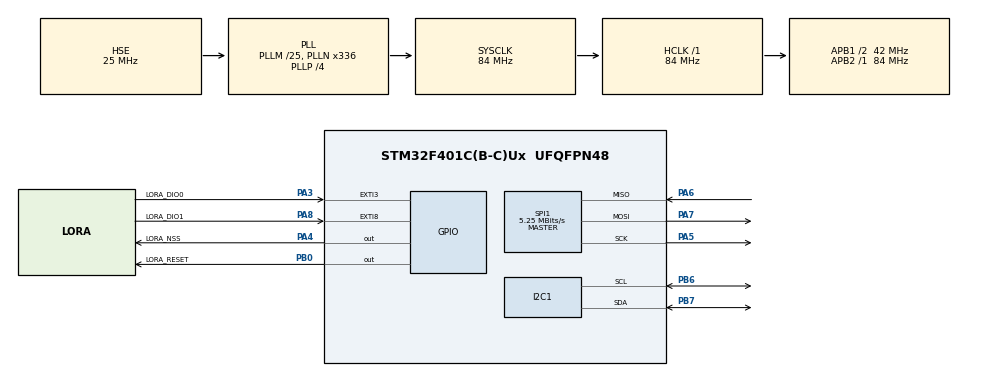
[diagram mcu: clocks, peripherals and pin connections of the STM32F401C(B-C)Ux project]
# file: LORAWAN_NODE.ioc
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Mcu.Family=STM32F4
Mcu.Name=STM32F401C(B-C)Ux
Mcu.Package=UFQFPN48
NVIC.EXTI3_IRQn=true\:0\:0\:false\:false\:true\:true\:true\:true
NVIC.EXTI9_5_IRQn=true\:0\:0\:false\:false\:true\:true\:true\:true
NVIC.PriorityGroup=NVIC_PRIORITYGROUP_4
NVIC.SPI1_IRQn=true\:0\:0\:false\:false\:true\:true\:true\:true
PA3.GPIO_Label=LORA_DIO0
PA3.GPIO_PuPd=GPIO_PULLDOWN
PA3.Signal=GPXTI3
PA4.GPIO_Label=LORA_NSS
PA4.GPIO_PuPd=GPIO_NOPULL
PA4.GPIO_Speed=GPIO_SPEED_FREQ_HIGH
PA4.Signal=GPIO_Output
PA5.Mode=Full_Duplex_Master
PA5.Signal=SPI1_SCK
PA6.Mode=Full_Duplex_Master
PA6.Signal=SPI1_MISO
PA7.Mode=Full_Duplex_Master
PA7.Signal=SPI1_MOSI
PA8.GPIO_Label=LORA_DIO1
PA8.GPIO_PuPd=GPIO_PULLDOWN
PA8.Signal=GPXTI8
PB0.GPIO_Label=LORA_RESET
PB0.Signal=GPIO_Output
PB6.Mode=I2C
PB6.Signal=I2C1_SCL
PB7.Mode=I2C
PB7.Signal=I2C1_SDA
PH0\ -\ OSC_IN.Mode=HSE-External-Oscillator
PH0\ -\ OSC_IN.Signal=RCC_OSC_IN
PH1\ -\ OSC_OUT.Mode=HSE-External-Oscillator
PH1\ -\ OSC_OUT.Signal=RCC_OSC_OUT
ProjectManager.HeapSize=0x200
ProjectManager.StackSize=0x400
ProjectManager.TargetToolchain=CMake
RCC.48MHZClocksFreq_Value=84000000
RCC.AHBFreq_Value=84000000
RCC.APB1CLKDivider=RCC_HCLK_DIV2
RCC.APB1Freq_Value=42000000
RCC.APB1TimFreq_Value=84000000
RCC.APB2Freq_Value=84000000
RCC.APB2TimFreq_Value=84000000
RCC.CortexFreq_Value=84000000
RCC.HCLKFreq_Value=84000000
RCC.HSE_VALUE=25000000
RCC.HSI_VALUE=16000000
RCC.LSE_VALUE=32768
RCC.PLLM=25
RCC.PLLN=336
RCC.PLLP=RCC_PLLP_DIV4
RCC.PLLSourceVirtual=RCC_PLLSOURCE_HSE
RCC.SYSCLKFreq_VALUE=84000000
RCC.SYSCLKSource=RCC_SYSCLKSOURCE_PLLCLK
RCC.VCOOutputFreq_Value=336000000
SPI1.BaudRatePrescaler=SPI_BAUDRATEPRESCALER_16
SPI1.CalculateBaudRate=5.25 MBits/s
SPI1.Direction=SPI_DIRECTION_2LINES
SPI1.Mode=SPI_MODE_MASTER
SPI1.VirtualType=VM_MASTER
board=custom

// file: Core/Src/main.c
/* USER CODE BEGIN Header */
/**
  ******************************************************************************
  * @file           : main.c
  * @brief          : Main program body
  ******************************************************************************
  * @attention
  *
  * Copyright (c) 2026 STMicroelectronics.
  * All rights reserved.
  *
  * This software is licensed under terms that can be found in the LICENSE file
  * in the root directory of this software component.
  * If no LICENSE file comes with this software, it is provided AS-IS.
  *
  ******************************************************************************
  */
/* USER CODE END Header */
#include "main.h"
#include "i2c.h"
#include "spi.h"
#include "gpio.h"
#include "oled.h"
#include "Commissioning.h"
#include <stdbool.h>
#include <string.h>
#include <stdio.h>
#include <math.h>

/* USER CODE BEGIN PV */

volatile uint64_t gDevEuiValue = 0;
volatile uint64_t gJoinEuiValue = 0;
volatile uint64_t gAppKeyHigh = 0;
volatile uint64_t gAppKeyLow = 0;
char gDevEuiHexOnly[17] = "0000000000000000";
const char *gDevEuiHexText = gDevEuiHexOnly;
static uint32_t gLastMq7Update = 0;

/* USER CODE END PV */

void SystemClock_Config(void);
/* USER CODE BEGIN PFP */
__attribute__((weak)) void LoRaWAN_Init(void) { }
__attribute__((weak)) void LoRaWAN_Process(void) { }
__attribute__((weak)) bool LoRaWAN_IsJoined(void) { return false; }
__attribute__((weak)) void LoRaWAN_SetMQ7Raw(uint16_t adcRaw) { (void)adcRaw; }

static void DebugGetUniqueId( uint8_t *id )
{
  uint32_t id0 = HAL_GetUIDw0( );
  uint32_t id1 = HAL_GetUIDw1( );
  uint32_t id2 = HAL_GetUIDw2( );

  id[0] = ( uint8_t )( id0 >> 24 );
  id[1] = ( uint8_t )( id0 >> 16 );
  id[2] = ( uint8_t )( id0 >> 8 );
  id[3] = ( uint8_t )( id0 );
  id[4] = ( uint8_t )( id1 >> 24 );
  id[5] = ( uint8_t )( id1 >> 16 );
  id[6] = ( uint8_t )( id2 >> 24 );
  id[7] = ( uint8_t )( id2 >> 16 );
}

static uint64_t DebugPackU64( const uint8_t *data, uint8_t size )
{
  uint8_t i = 0;
  uint64_t value = 0;

  for( i = 0; i < size; i++ )
  {
    value = ( value << 8 ) | data[i];
  }

  return value;
}

static void DebugFormatHex( const uint8_t *data, uint8_t size, char *out )
{
  static const char hexTable[] = "0123456789ABCDEF";
  uint8_t i = 0;

  for( i = 0; i < size; i++ )
  {
    out[2U * i] = hexTable[( data[i] >> 4 ) & 0x0FU];
    out[(2U * i) + 1U] = hexTable[data[i] & 0x0FU];
  }
  out[2U * size] = '\0';
}

static void DebugUpdateIdentityValues(void)
{
  uint8_t devEui[8] = { 0 };

  DebugGetUniqueId( devEui );

  gDevEuiValue = DebugPackU64( devEui, 8U );
  DebugFormatHex( devEui, 8U, gDevEuiHexOnly );
  gDevEuiHexText = gDevEuiHexOnly;
  gJoinEuiValue = DebugPackU64( JoinEui, sizeof( JoinEui ) );
  gAppKeyHigh = DebugPackU64( AppKey, 8U );
  gAppKeyLow = DebugPackU64( &AppKey[8], 8U );
}

/* MQ-7 CO concentration estimation
 * Curve fit from datasheet:  ppm = A * (Rs/R0) ^ B
 * Circuit: Vc = 3.3 V, RL = 10 kOhm (typical module).
 * Calibration: heat sensor 60 s in clean air, then set MQ7_R0_KOHM = measured Rs.
 * Default R0 = 10 kOhm (Rs in air ≈ RL * (3.3-Vclean)/Vclean) */
#define MQ7_VREF      3.3f
#define MQ7_ADC_FULL  4095.0f
#define MQ7_RL_KOHM   10.0f
#define MQ7_R0_KOHM   10.0f   /* adjust after calibration in clean air */
#define MQ7_CURVE_A   99.042f
#define MQ7_CURVE_B   (-1.518f)

static uint32_t MQ7_AdcToPpm(uint16_t adcRaw)
{
  float vout;
  float rs;
  float ratio;
  float ppm;

  if (adcRaw == 0U)      { return 0U; }

  vout  = (float)adcRaw * MQ7_VREF / MQ7_ADC_FULL;
  if (vout >= MQ7_VREF)  { return 0U; }   /* open circuit */

  rs    = MQ7_RL_KOHM * (MQ7_VREF - vout) / vout;
  ratio = rs / MQ7_R0_KOHM;
  if (ratio <= 0.0f)     { return 9999U; }

  ppm   = MQ7_CURVE_A * powf(ratio, MQ7_CURVE_B);

  if (ppm < 0.0f)        { ppm = 0.0f; }
  if (ppm > 9999.0f)     { ppm = 9999.0f; }

  return (uint32_t)ppm;
}

static void MQ7_InitAdc(void)
{
  GPIO_InitTypeDef gpio = {0};

  __HAL_RCC_GPIOA_CLK_ENABLE();
  __HAL_RCC_ADC1_CLK_ENABLE();

  gpio.Pin = GPIO_PIN_0;
  gpio.Mode = GPIO_MODE_ANALOG;
  gpio.Pull = GPIO_NOPULL;
  HAL_GPIO_Init(GPIOA, &gpio);

  ADC->CCR &= ~(ADC_CCR_ADCPRE_Msk);
  ADC->CCR |= ADC_CCR_ADCPRE_0; /* PCLK2/4 for ADC clock */

  ADC1->CR1 = 0;
  ADC1->CR2 = ADC_CR2_ADON;
  ADC1->SMPR2 &= ~(ADC_SMPR2_SMP0_Msk);
  ADC1->SMPR2 |= (3UL << ADC_SMPR2_SMP0_Pos); /* 56 cycles sample time */
  ADC1->SQR1 = 0;
  ADC1->SQR2 = 0;
  ADC1->SQR3 = 0; /* rank1 -> channel 0 (PA0) */
}

static uint16_t MQ7_ReadRaw(void)
{
  uint32_t startTick = HAL_GetTick();

  ADC1->SR = 0;
  ADC1->CR2 |= ADC_CR2_SWSTART;

  while ((ADC1->SR & ADC_SR_EOC) == 0U)
  {
    if ((HAL_GetTick() - startTick) > 10U)
    {
      return 0U;
    }
  }

  return (uint16_t)(ADC1->DR & 0x0FFFU);
}

/* USER CODE END PFP */

int main(void)
{

  /* MCU Configuration--------------------------------------------------------*/

  /* Reset of all peripherals, Initializes the Flash interface and the Systick. */
  HAL_Init();

  /* Configure the system clock */
  SystemClock_Config();

  /* Initialize all configured peripherals */
  MX_GPIO_Init();
  MX_SPI1_Init();
  MX_I2C1_Init();
  /* USER CODE BEGIN 2 */
  MQ7_InitAdc();
  OLED_Init();
  DebugUpdateIdentityValues();
  LoRaWAN_Init();

  /* USER CODE END 2 */

  /* Infinite loop */
  while (1)
  {

    /* USER CODE BEGIN 3 */
    uint32_t now = HAL_GetTick();
    if ((now - gLastMq7Update) >= 500U)
    {
      uint32_t rawAdc = 0;
      uint32_t milliVolt = 0;
      uint32_t ppm = 0;
      bool joined = false;
      char line1[22];
      char line2[22];
      char line3[22];
      char line4[22];

      gLastMq7Update = now;

      rawAdc    = MQ7_ReadRaw();
      milliVolt = (rawAdc * 3300U) / 4095U;
      ppm       = MQ7_AdcToPpm((uint16_t)rawAdc);
      joined    = LoRaWAN_IsJoined();

      LoRaWAN_SetMQ7Raw((uint16_t)rawAdc);  /* update payload for next uplink */

      (void)snprintf(line1, sizeof(line1), "MQ7 ADC:%4lu", (unsigned long)rawAdc);
      (void)snprintf(line2, sizeof(line2), "V:%lu.%03lu", (unsigned long)(milliVolt / 1000U), (unsigned long)(milliVolt % 1000U));
      (void)snprintf(line3, sizeof(line3), "CO:%4lu PPM", (unsigned long)ppm);
      (void)snprintf(line4, sizeof(line4), "LORAWAN %c",
                     joined ? OLED_CHAR_JOINED : OLED_CHAR_NOT_JOINED);

      OLED_Clear();
      OLED_DrawText(0U, 0U, line1);
      OLED_DrawText(0U, 2U, line2);
      OLED_DrawText(0U, 4U, line3);
      OLED_DrawText(0U, 6U, line4);
      OLED_Update();
    }

    DebugUpdateIdentityValues();
    LoRaWAN_Process();
  }
  /* USER CODE END 3 */
}

void SystemClock_Config(void)
{
  RCC_OscInitTypeDef RCC_OscInitStruct = {0};
  RCC_ClkInitTypeDef RCC_ClkInitStruct = {0};

  /** Configure the main internal regulator output voltage
  */
  __HAL_RCC_PWR_CLK_ENABLE();
  __HAL_PWR_VOLTAGESCALING_CONFIG(PWR_REGULATOR_VOLTAGE_SCALE2);

  /** Initializes the RCC Oscillators according to the specified parameters
  * in the RCC_OscInitTypeDef structure.
  */
  RCC_OscInitStruct.OscillatorType = RCC_OSCILLATORTYPE_HSE;
  RCC_OscInitStruct.HSEState = RCC_HSE_ON;
  RCC_OscInitStruct.PLL.PLLState = RCC_PLL_ON;
  RCC_OscInitStruct.PLL.PLLSource = RCC_PLLSOURCE_HSE;
  RCC_OscInitStruct.PLL.PLLM = 25;
  RCC_OscInitStruct.PLL.PLLN = 336;
  RCC_OscInitStruct.PLL.PLLP = RCC_PLLP_DIV4;
  RCC_OscInitStruct.PLL.PLLQ = 4;
  if (HAL_RCC_OscConfig(&RCC_OscInitStruct) != HAL_OK)
  {
    Error_Handler();
  }

  /** Initializes the CPU, AHB and APB buses clocks
  */
  RCC_ClkInitStruct.ClockType = RCC_CLOCKTYPE_HCLK|RCC_CLOCKTYPE_SYSCLK
                              |RCC_CLOCKTYPE_PCLK1|RCC_CLOCKTYPE_PCLK2;
  RCC_ClkInitStruct.SYSCLKSource = RCC_SYSCLKSOURCE_PLLCLK;
  RCC_ClkInitStruct.AHBCLKDivider = RCC_SYSCLK_DIV1;
  RCC_ClkInitStruct.APB1CLKDivider = RCC_HCLK_DIV2;
  RCC_ClkInitStruct.APB2CLKDivider = RCC_HCLK_DIV1;

  if (HAL_RCC_ClockConfig(&RCC_ClkInitStruct, FLASH_LATENCY_2) != HAL_OK)
  {
    Error_Handler();
  }
}

void Error_Handler(void)
{
  __disable_irq();
  while (1)
  {
  }
}
